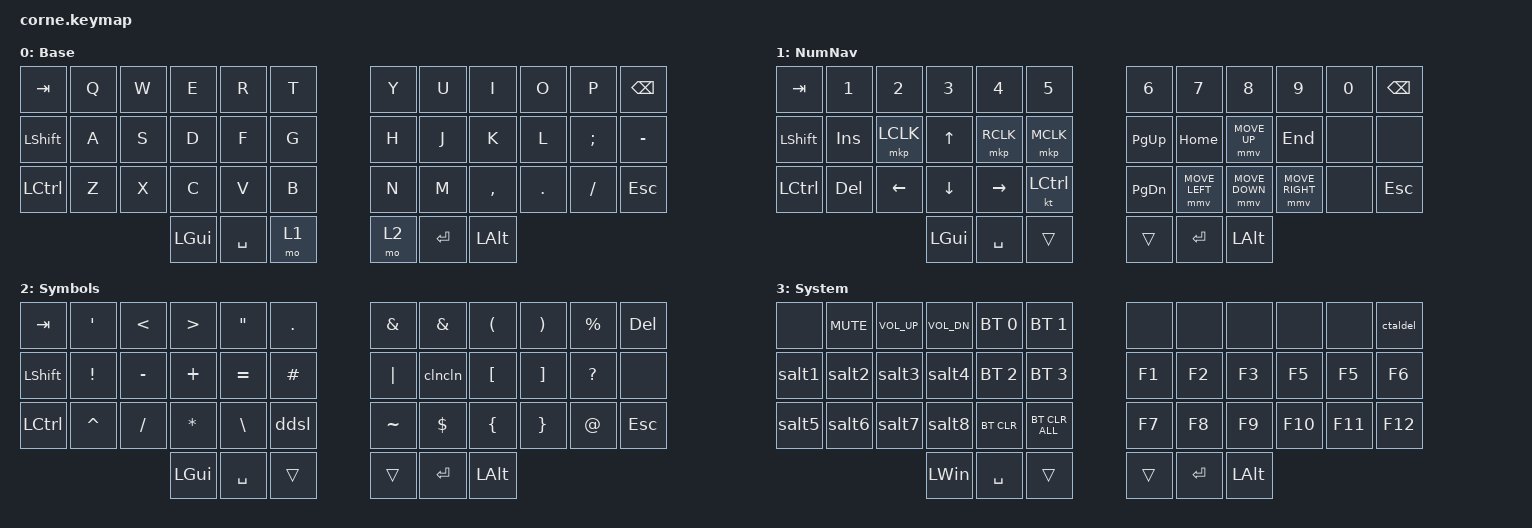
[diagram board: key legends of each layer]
#include <behaviors.dtsi>
#include <dt-bindings/zmk/bt.h>
#include <dt-bindings/zmk/keys.h>
#include <dt-bindings/zmk/keys.h>
#include <dt-bindings/zmk/pointing.h>
#include <dt-bindings/zmk/pointing.h>

#define DEF 0
#define NAV 1
#define SYM 2
#define ADJ 3
#define EXTRA 4

/ {
    behaviors {
        hm: homerow_mods {
            compatible = "zmk,behavior-hold-tap";
            label = "HOMEROW_MODS";
            #binding-cells = <2>;
            tapping-term-ms = <200>;
            quick_tap_ms = <0>;
            flavor = "tap-preferred";
            bindings = <&kp>, <&kp>;

            quick-tap-ms = <180>;
            global-quick-tap;
        };

        para: para {
            compatible = "zmk,behavior-tap-dance";
            label = "PARA";
            #binding-cells = <0>;
            bindings = <&kp LEFT_PARENTHESIS>, <&kp RIGHT_PARENTHESIS>;
        };

        caps: caps {
            compatible = "zmk,behavior-caps-word";
            label = "CAPS";
            #binding-cells = <0>;
            continue-list = <MINUS BACKSPACE>;
        };

        paraless: paraless {
            compatible = "zmk,behavior-mod-morph";
            label = "PARALESS";
            bindings = <&kp LEFT_PARENTHESIS>, <&kp LESS_THAN>;

            #binding-cells = <0>;
            mods = <(MOD_LSFT)>;
        };

        paragreat: paragreat {
            compatible = "zmk,behavior-mod-morph";
            label = "PARAGREAT";
            bindings = <&kp RIGHT_PARENTHESIS>, <&kp GREATER_THAN>;

            #binding-cells = <0>;
            mods = <(MOD_LSFT)>;
        };
    };

    macros {
        ddsl: browsertab {
            compatible = "zmk,behavior-macro";
            #binding-cells = <0>;
            bindings = <&kp DOT &kp DOT &kp FSLH>;
        };

        clncln: clncln {
            compatible = "zmk,behavior-macro";
            #binding-cells = <0>;
            bindings = <&kp COLON &kp COLON>;
            label = "CLNCLN";
        };

        ctaldel: ctaldel {
            compatible = "zmk,behavior-macro";
            #binding-cells = <0>;
            bindings = <&kp LCTRL &kp LEFT_ALT &kp DEL>;
            label = "CTALDEL";
        };

        salt1: salt1 {
            compatible = "zmk,behavior-macro";
            #binding-cells = <0>;
            bindings = <&kp DOT &kp M &kp LS(T) &kp LS(A) &kp N4 &kp LS(V) &kp LS(L) &kp LS(P) &kp DOT &kp R>;
            label = "SALT1";
        };

        salt2: salt2 {
            compatible = "zmk,behavior-macro";
            #binding-cells = <0>;
            bindings = <&kp LS(G) &kp LS(W) &kp I &kp AT &kp N9 &kp O &kp R &kp LS(R) &kp V &kp W &kp LS(D) &kp LS(R) &kp LS(Z) &kp H>;
            label = "SALT2";
        };

        salt3: salt3 {
            compatible = "zmk,behavior-macro";
            #binding-cells = <0>;
            bindings = <&kp N4 &kp LS(B) &kp LS(X) &kp O &kp J &kp EXCL &kp X &kp LS(W) &kp LS(W) &kp LS(L)>;
            label = "SALT3";
        };

        salt4: salt4 {
            compatible = "zmk,behavior-macro";
            #binding-cells = <0>;
            bindings = <&kp LS(L) &kp LS(A) &kp A &kp EXCL &kp LS(D) &kp LS(E) &kp N6 &kp T &kp STAR &kp O &kp K &kp LS(N) &kp LS(D) &kp N9 &kp LS(Y) &kp Q>;
            label = "SALT4";
        };

        salt5: salt5 {
            compatible = "zmk,behavior-macro";
            #binding-cells = <0>;
            bindings = <&kp Y &kp LS(X) &kp LS(F) &kp MINUS &kp LS(X) &kp A &kp LS(F) &kp R &kp Z &kp P &kp N3 &kp DOT &kp S &kp LS(X) &kp X &kp LS(D)>;
            label = "SALT5";
        };

        salt6: salt6 {
            compatible = "zmk,behavior-macro";
            #binding-cells = <0>;
            bindings = <&kp X &kp LS(M) &kp W &kp N3 &kp H &kp LS(R) &kp LS(G) &kp X &kp Z &kp N3 &kp N2 &kp MINUS &kp LS(V) &kp S &kp LS(R) &kp I>;
            label = "SALT6";
        };

        salt7: salt7 {
            compatible = "zmk,behavior-macro";
            #binding-cells = <0>;
            bindings = <&kp M &kp LS(H) &kp Y &kp N2 &kp Z &kp LS(C) &kp LS(C) &kp LS(V) &kp N2 &kp STAR &kp D &kp LS(G) &kp LS(X) &kp P &kp LS(A) &kp LS(Y)>;
            label = "SALT7";
        };

        salt8: salt8 {
            compatible = "zmk,behavior-macro";
            #binding-cells = <0>;
            bindings = <&kp LS(F) &kp N9 &kp LS(P) &kp N3 &kp P &kp DOT &kp Z &kp K &kp I &kp I &kp U &kp P &kp LS(A) &kp LS(Q) &kp LS(V) &kp N7>;
            label = "SALT8";
        };
    };

    combos { compatible = "zmk,combos"; };

    //

    keymap {
        compatible = "zmk,keymap";

        DEF {
            display-name = "Base";

            // -----------------------------------------------------------------------------------------
            // |  Q  |  W  |  E  |  R  |  T  |   |  Y  |  U   |  I  |  O  |  P  |
            // |  A  |  S  |  D  |  F  |  G  |   |  H  |  J   |  K  |  L  |  ;  |
            // |  Z  |  X  |  C  |  V  |  B  |   |  N  |  M   |  ,  |  .  |  /  |
            // | GUI | CTRL | SHFT | LWR | SPC |   | ENT | RSE  | BKSP | ALT | ESC |

            bindings = <
&kp TAB    &kp Q  &kp W  &kp E     &kp R      &kp T    &kp Y  &kp U      &kp I         &kp O    &kp P     &kp BACKSPACE
&kp LSHFT  &kp A  &kp S  &kp D     &kp F      &kp G    &kp H  &kp J      &kp K         &kp L    &kp SEMI  &kp MINUS
&kp LCTRL  &kp Z  &kp X  &kp C     &kp V      &kp B    &kp N  &kp M      &kp COMMA     &kp DOT  &kp FSLH  &kp ESCAPE
                         &kp LGUI  &kp SPACE  &mo 1    &mo 2  &kp ENTER  &kp LEFT_ALT
            >;
        };

        NumNav {
            display-name = "NumNav";

            // -----------------------------------------------------------------------------------------
            // |  TAB |  1  |  2  |  3  |  4  |  5  |   |  6  |  7  |  8  |  9  |  0  | BKSP |
            // | BTCLR| BT1 | BT2 | BT3 | BT4 | BT5 |   | LFT | DWN |  UP | RGT |     |      |
            // | SHFT |     |     |     |     |     |   |     |     |     |     |     |      |
            // | GUI | CTRL | SHFT | LWR | SPC |   | ENT | RSE  | BKSP | ALT | ESC |

            bindings = <
&kp TAB           &kp N1      &kp N2     &kp N3        &kp N4           &kp N5              &kp N6         &kp N7          &kp N8          &kp N9           &kp N0  &kp BACKSPACE
&kp LEFT_SHIFT    &kp INS     &mkp LCLK  &kp UP_ARROW  &mkp RCLK        &mkp MCLK           &kp PAGE_UP    &kp HOME        &mmv MOVE_UP    &kp END          &none   &none
&kp LEFT_CONTROL  &kp DELETE  &kp LEFT   &kp DOWN      &kp RIGHT_ARROW  &kt LEFT_CONTROL    &kp PAGE_DOWN  &mmv MOVE_LEFT  &mmv MOVE_DOWN  &mmv MOVE_RIGHT  &none   &kp ESC
                                         &kp LGUI      &kp SPACE        &trans              &trans         &kp ENTER       &kp LEFT_ALT
            >;
        };

        SYM {
            display-name = "Symbols";

            // -----------------------------------------------------------------------------------------
            // |  TAB |  !  |  @  |  #  |  $  |  %  |   |  ^  |  &  |  *  |  (  |  )  | BKSP |
            // | CTRL |     |     |     |     |     |   |  -  |  =  |  [  |  ]  |  \  |  `   |
            // | SHFT |     |     |     |     |     |   |  _  |  +  |  {  |  }  | "|" |  ~   |
            //                    | GUI |     | SPC |   | ENT |     | ALT |

            bindings = <
&kp TAB           &kp SQT          &kp LT     &kp GT     &kp DQT    &kp DOT     &kp AMPS   &kp AMPS   &kp LPAR      &kp RPAR  &kp PRCNT  &kp DEL
&kp LEFT_SHIFT    &kp EXCLAMATION  &kp MINUS  &kp PLUS   &kp EQUAL  &kp HASH    &kp PIPE   &clncln    &kp LBKT      &kp RBKT  &kp QMARK  &none
&kp LEFT_CONTROL  &kp CARET        &kp FSLH   &kp ASTRK  &kp BSLH   &ddsl       &kp TILDE  &kp DLLR   &kp LBRC      &kp RBRC  &kp AT     &kp ESC
                                              &kp LGUI   &kp SPACE  &trans      &trans     &kp ENTER  &kp LEFT_ALT
            >;
        };

        ADJ {
            display-name = "System";
            bindings = <
&none   &kp K_MUTE  &kp C_VOL_UP  &kp C_VOL_DN  &bt BT_SEL 0  &bt BT_SEL 1      &none   &none      &none         &none    &none    &ctaldel
&salt1  &salt2      &salt3        &salt4        &bt BT_SEL 2  &bt BT_SEL 3      &kp F1  &kp F2     &kp F3        &kp F5   &kp F5   &kp F6
&salt5  &salt6      &salt7        &salt8        &bt BT_CLR    &bt BT_CLR_ALL    &kp F7  &kp F8     &kp F9        &kp F10  &kp F11  &kp F12
                                  &kp LEFT_WIN  &kp SPACE     &trans            &trans  &kp ENTER  &kp LEFT_ALT
            >;
        };
    };

    conditional_layers {
        compatible = "zmk,conditional-layers";

        l3 {
            if-layers = <1 2>;
            then-layer = <3>;
        };
    };
};
